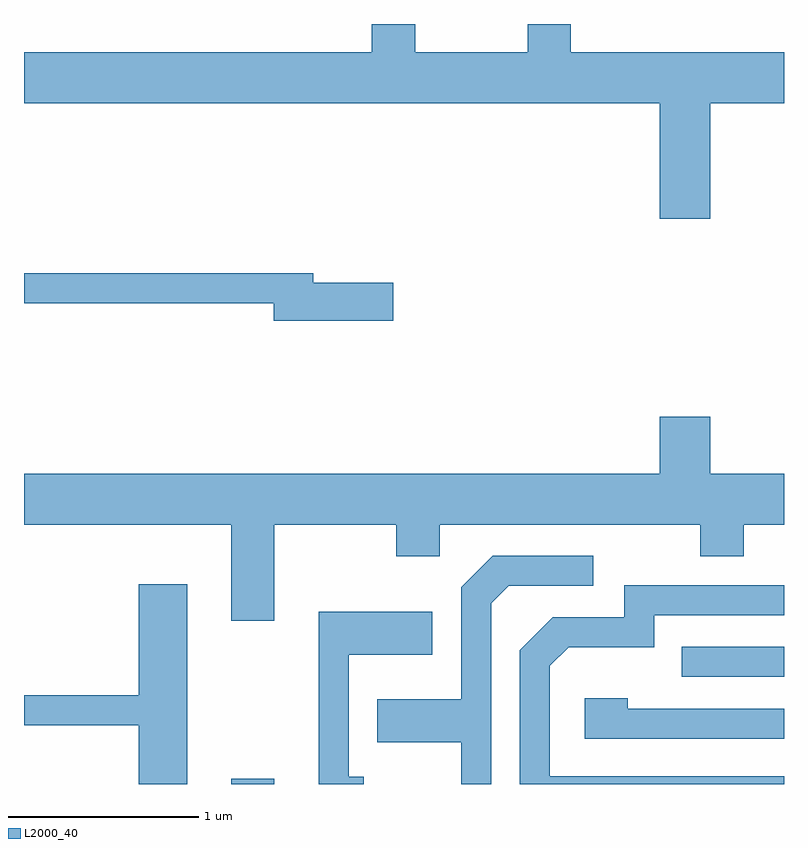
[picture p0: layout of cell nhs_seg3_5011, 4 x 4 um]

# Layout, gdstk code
import gdstk
lib = gdstk.Library(unit=1e-6, precision=1e-09)
def R(c, l, rs):  # rectangles x0, y0, x1, y1
    for r in rs: c.add(gdstk.rectangle(r[:2], r[2:], *l))
def P(c, l, *ps):  # polygons
    for p in ps: c.add(gdstk.Polygon(p, *l))
L2000_40 = (2000, 40)

nhs_seg3_5011 = lib.new_cell('nhs_seg3_5011')
R(nhs_seg3_5011, L2000_40, [(332.701,1217.892,332.929,1217.919), (335.073,1218.456,335.611,1218.614)])
P(nhs_seg3_5011, L2000_40, [(335.224,1221.476),(335.611,1221.476),(335.611,1221.744),(334.489,1221.744),(334.489,1221.892),(334.261,1221.892),(334.261,1221.744),(333.669,1221.744),(333.669,1221.892),(333.441,1221.892),(333.441,1221.744),(331.611,1221.744),(331.611,1221.476),(334.956,1221.476),(334.956,1220.866),(335.224,1220.866)],
  [(333.554,1220.529),(333.134,1220.529),(333.134,1220.579),(331.611,1220.579),(331.611,1220.421),(332.926,1220.421),(332.926,1220.331),(333.554,1220.331)],
  [(332.929,1219.256),(333.571,1219.256),(333.571,1219.091),(333.799,1219.091),(333.799,1219.256),(335.171,1219.256),(335.171,1219.091),(335.399,1219.091),(335.399,1219.256),(335.611,1219.256),(335.611,1219.524),(335.224,1219.524),(335.224,1219.824),(334.956,1219.824),(334.956,1219.524),(331.611,1219.524),(331.611,1219.256),(332.701,1219.256),(332.701,1218.751),(332.929,1218.751)],
  [(334.069,1218.844),(334.162,1218.936),(334.608,1218.936),(334.608,1219.094),(334.079,1219.094),(333.911,1218.927),(333.911,1218.339),(333.471,1218.339),(333.471,1218.111),(333.911,1218.111),(333.911,1217.892),(334.069,1217.892)],
  [(332.469,1218.944),(332.216,1218.944),(332.216,1218.359),(331.611,1218.359),(331.611,1218.201),(332.216,1218.201),(332.216,1217.892),(332.469,1217.892)],
  [(335.611,1217.934),(334.379,1217.934),(334.379,1218.514),(334.477,1218.611),(334.929,1218.611),(334.929,1218.781),(335.611,1218.781),(335.611,1218.939),(334.771,1218.939),(334.771,1218.769),(334.394,1218.769),(334.221,1218.597),(334.221,1217.892),(335.611,1217.892)],
  [(333.398,1217.929),(333.319,1217.929),(333.319,1218.571),(333.759,1218.571),(333.759,1218.799),(333.161,1218.799),(333.161,1217.892),(333.398,1217.892)],
  [(335.611,1218.289),(334.789,1218.289),(334.789,1218.344),(334.561,1218.344),(334.561,1218.131),(335.611,1218.131)])

lib.write_gds('nhs_seg3_5011.gds')
